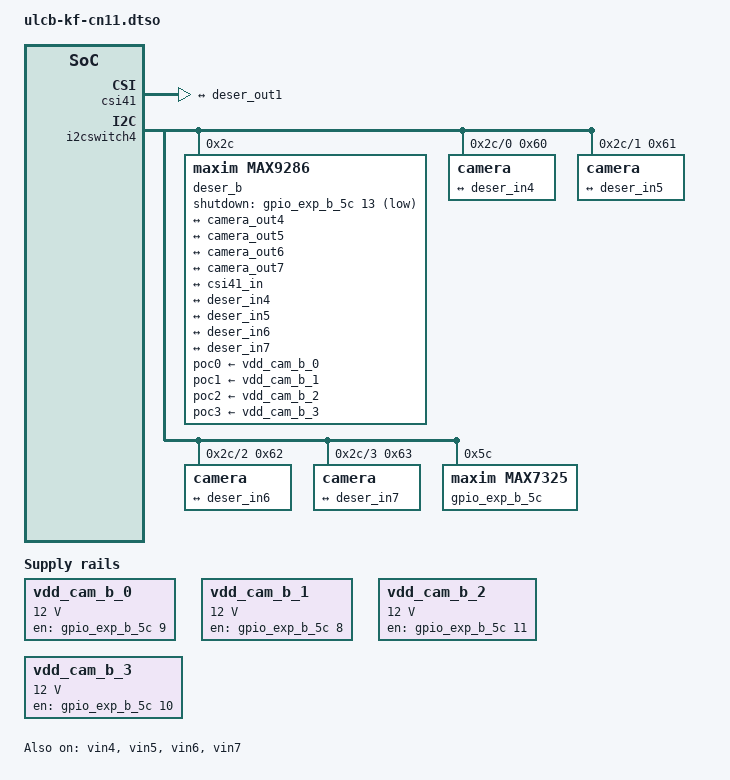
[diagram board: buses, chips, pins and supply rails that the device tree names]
// SPDX-License-Identifier: GPL-2.0
/*
 * Device Tree Overlay for the H3ULCB Kingfisher board:
 *  use CN11 instead default CN29/CN48
 *
 * Copyright (C) 2017-2020 Renesas Electronics Corp.
 * Copyright (C) 2017-2020 Cogent Embedded, Inc.
 */

/dts-v1/;
/plugin/;

#include <dt-bindings/gpio/gpio.h>
#include "camera.dtsi"

/ {
	fragment@101 {
		target-path = "/";

		__overlay__ {

			vdd_cam_b_0: regulator@18 {
				compatible = "regulator-fixed";
				regulator-name = "Video-B PWR0";
				regulator-min-microvolt = <12000000>;
				regulator-max-microvolt = <12000000>;
				gpio = <&gpio_exp_b_5c 9 GPIO_ACTIVE_HIGH>;
				enable-active-high;
			};

			vdd_cam_b_1: regulator@19 {
				compatible = "regulator-fixed";
				regulator-name = "Video-B PWR1";
				regulator-min-microvolt = <12000000>;
				regulator-max-microvolt = <12000000>;
				gpio = <&gpio_exp_b_5c 8 GPIO_ACTIVE_HIGH>;
				enable-active-high;
			};

			vdd_cam_b_2: regulator@20 {
				compatible = "regulator-fixed";
				regulator-name = "Video-B PWR2";
				regulator-min-microvolt = <12000000>;
				regulator-max-microvolt = <12000000>;
				gpio = <&gpio_exp_b_5c 11 GPIO_ACTIVE_HIGH>;
				enable-active-high;
			};

			vdd_cam_b_3: regulator@21 {
				compatible = "regulator-fixed";
				regulator-name = "Video-B PWR3";
				regulator-min-microvolt = <12000000>;
				regulator-max-microvolt = <12000000>;
				gpio = <&gpio_exp_b_5c 10 GPIO_ACTIVE_HIGH>;
				enable-active-high;
			};
		};
	};
};

&csi41 {
	status = "okay";

	ports {
		#address-cells = <1>;
		#size-cells = <0>;

		port@0 {
			reg = <0>;

			csi41_in: endpoint {
				clock-lanes = <0>;
				data-lanes = <1 2 3 4>;
				remote-endpoint = <&deser_out1>;
			};
		};
	};
};

&i2cswitch4 {
	#address-cells = <1>;
	#size-cells = <0>;

	/* Slot B (CN11) */
	i2c@2 {
		#address-cells = <1>;
		#size-cells = <0>;
		reg = <2>;

		deser_b@2c {
			compatible = "maxim,max9286", "ti,ub9x4";
			#address-cells = <1>;
			#size-cells = <0>;
			reg = <0x2c 0x3a>;
			reg-names = "max9286", "ub9x4";
			regs = <0x0c 0x0d 0x0e 0x0f>;
			shutdown-gpios = <&gpio_exp_b_5c 13 GPIO_ACTIVE_LOW>;

			poc0-supply = <&vdd_cam_b_0>;
			poc1-supply = <&vdd_cam_b_1>;
			poc2-supply = <&vdd_cam_b_2>;
			poc3-supply = <&vdd_cam_b_3>;

			ports {
				#address-cells = <1>;
				#size-cells = <0>;

				port@0 {
					reg = <0>;
					deser_in4: endpoint {
						remote-endpoint = <&camera_out4>;
					};
				};

				port@1 {
					reg = <1>;
					deser_in5: endpoint {
						remote-endpoint = <&camera_out5>;
					};
				};

				port@2 {
					reg = <2>;
					deser_in6: endpoint {
						remote-endpoint = <&camera_out6>;
					};
				};

				port@3 {
					reg = <3>;
					deser_in7: endpoint {
						remote-endpoint = <&camera_out7>;
					};
				};

				port@4 {
					reg = <4>;
					deser_out1: endpoint {
						clock-lanes = <0>;
						data-lanes = <1 2 3 4>;
						remote-endpoint = <&csi41_in>;
					};
				};
			};

			i2c@0 {
				#address-cells = <1>;
				#size-cells = <0>;
				reg = <0>;

				camera@60 {
					compatible = LVDS_CAMERA;
					reg = <0x60 0x0c>;

					port {
						camera_out4: endpoint {
							remote-endpoint = <&deser_in4>;
						};
					};
				};
			};

			i2c@1 {
				#address-cells = <1>;
				#size-cells = <0>;
				reg = <1>;

				camera@61 {
					compatible = LVDS_CAMERA;
					reg = <0x61 0x0d>;

					port {
						camera_out5: endpoint {
							remote-endpoint = <&deser_in5>;
						};
					};
				};
			};

			i2c@2 {
				#address-cells = <1>;
				#size-cells = <0>;
				reg = <2>;

				camera@62 {
					compatible = LVDS_CAMERA;
					reg = <0x62 0x0e>;

					port {
						camera_out6: endpoint {
							remote-endpoint = <&deser_in6>;
						};
					};
				};
			};

			i2c@3 {
				#address-cells = <1>;
				#size-cells = <0>;
				reg = <3>;

				camera@63 {
					compatible = LVDS_CAMERA;
					reg = <0x63 0x0f>;

					port {
						camera_out7: endpoint {
							remote-endpoint = <&deser_in7>;
						};
					};
				};
			};
		};
	};

	i2cswitch4_i2c6: i2c@6 {
		#address-cells = <1>;
		#size-cells = <0>;
		reg = <6>;
		/* Slot B (CN11) */

		gpio_exp_b_5c: gpio@5c {
			compatible = "maxim,max7325";
			reg = <0x5c>;
			gpio-controller;
			#gpio-cells = <2>;

			video_b_des_cfg2 {
				gpio-hog;
				gpios = <4 GPIO_ACTIVE_HIGH>;
				input;
				line-name = "Video-B cfg2";
			};
			video_b_des_cfg1 {
				gpio-hog;
				gpios = <6 GPIO_ACTIVE_HIGH>;
				input;
				line-name = "Video-B cfg1";
			};
			video_b_des_cfg0 {
				gpio-hog;
				gpios = <7 GPIO_ACTIVE_HIGH>;
				input;
				line-name = "Video-B cfg0";
			};
			video_b_pwr_shdn {
				gpio-hog;
				gpios = <14 GPIO_ACTIVE_HIGH>;
				output-high;
				line-name = "Video-B PWR_SHDN";
			};
			video_b_led {
				gpio-hog;
				gpios = <12 GPIO_ACTIVE_HIGH>;
				output-low;
				line-name = "Video-B LED";
			};
		};
	};
};

&vin4 {
	status = "okay";
};

&vin5 {
	status = "okay";
};

&vin6 {
	status = "okay";
};

&vin7 {
	status = "okay";
};
